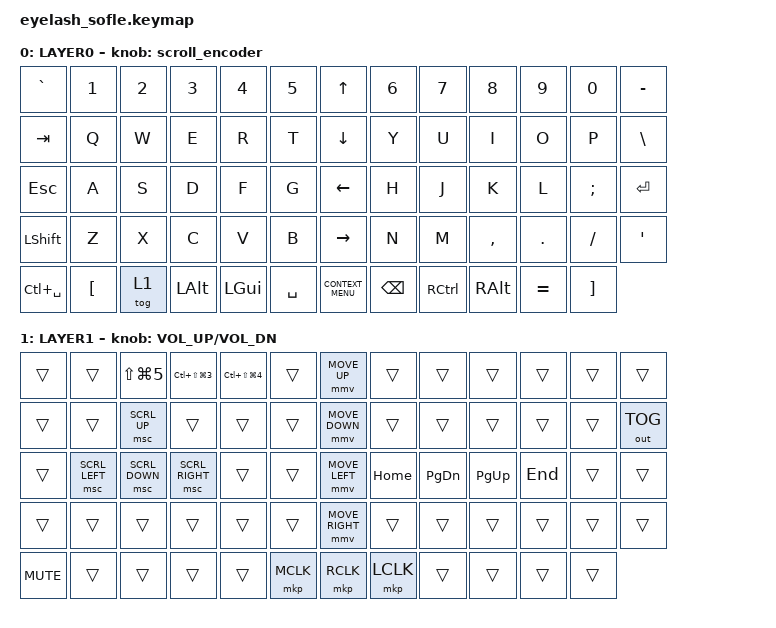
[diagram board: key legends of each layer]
#define ZMK_POINTING_DEFAULT_MOVE_VAL 1200  // 600
#define ZMK_POINTING_DEFAULT_SCRL_VAL 25   // 10

#include <input/processors.dtsi>
#include <zephyr/dt-bindings/input/input-event-codes.h>
#include <behaviors.dtsi>
#include <dt-bindings/zmk/keys.h>
#include <dt-bindings/zmk/outputs.h>
#include <dt-bindings/zmk/pointing.h>

&mmv_input_listener { input-processors = <&zip_xy_scaler 2 1>; };

&msc_input_listener { input-processors = <&zip_scroll_scaler 2 1>; };

&msc {
    acceleration-exponent = <1>;      // 0
    time-to-max-speed-ms = <100>;       // 300
    delay-ms = <0>;                   // 0
};

&mmv {
    time-to-max-speed-ms = <500>;
    acceleration-exponent = <1>;
    trigger-period-ms = <16>;
};

&soft_off { hold-time-ms = <2000>; };

/ {
    scroll_encoder: scroll_encoder {
        compatible = "zmk,behavior-sensor-rotate";
        #sensor-binding-cells = <0>;
        bindings = <&msc SCRL_DOWN>, <&msc SCRL_UP>;

        tap-ms = <100>;
    };

    behaviors {
    };

    combos {
        compatible = "zmk,combos";

        softoff {
            bindings = <&soft_off>;
            key-positions = <14 28 40>;
        };
    };

    macros {
        SHIFT_MCLK: SHIFT_MCLK {
            compatible = "zmk,behavior-macro";
            #binding-cells = <0>;
            bindings =
                <&macro_press>,
                <&kp LEFT_SHIFT>,
                <&macro_press>,
                <&mkp MB3>,
                <&macro_pause_for_release>,
                <&macro_release>,
                <&kp LEFT_SHIFT &mkp MB3>;

            label = "SHIFT_MCLK";
        };
    };

    keymap {
        compatible = "zmk,keymap";

        layer0 {
            bindings = <
&kp GRAVE      &kp N1            &kp N2  &kp N3    &kp N4    &kp N5       &kp UP              &kp N6         &kp N7     &kp N8     &kp N9     &kp N0             &kp MINUS
&kp TAB        &kp Q             &kp W   &kp E     &kp R     &kp T        &kp DOWN            &kp Y          &kp U      &kp I      &kp O      &kp P              &kp BSLH
&kp ESC        &kp A             &kp S   &kp D     &kp F     &kp G        &kp LEFT            &kp H          &kp J      &kp K      &kp L      &kp SEMI           &kp ENTER
&kp LSHFT      &kp Z             &kp X   &kp C     &kp V     &kp B        &kp RIGHT           &kp N          &kp M      &kp COMMA  &kp DOT    &kp FSLH           &kp SQT
&kp LC(SPACE)  &kp LEFT_BRACKET  &tog 1  &kp LALT  &kp LGUI  &kp SPACE    &kp K_CONTEXT_MENU  &kp BACKSPACE  &kp RCTRL  &kp RALT   &kp EQUAL  &kp RIGHT_BRACKET
            >;

            sensor-bindings = <&scroll_encoder>;
            display-name = "LAYER0";
        };

        layer1 {
            bindings = <
&trans      &trans          &kp LS(LG(N5))  &kp LC(LS(LG(N3)))  &kp LC(LS(LG(N4)))  &trans       &mmv MOVE_UP     &trans     &trans         &trans       &trans   &trans  &trans
&trans      &trans          &msc SCRL_UP    &trans              &trans              &trans       &mmv MOVE_DOWN   &trans     &trans         &trans       &trans   &trans  &out OUT_TOG
&trans      &msc SCRL_LEFT  &msc SCRL_DOWN  &msc SCRL_RIGHT     &trans              &trans       &mmv MOVE_LEFT   &kp HOME   &kp PAGE_DOWN  &kp PAGE_UP  &kp END  &trans  &trans
&trans      &trans          &trans          &trans              &trans              &trans       &mmv MOVE_RIGHT  &trans     &trans         &trans       &trans   &trans  &trans
&kp K_MUTE  &trans          &trans          &trans              &trans              &mkp MCLK    &mkp RCLK        &mkp LCLK  &trans         &trans       &trans   &trans
            >;

            sensor-bindings = <&inc_dec_kp C_VOL_UP C_VOL_DN>;
            display-name = "LAYER1";
        };
    };
};
